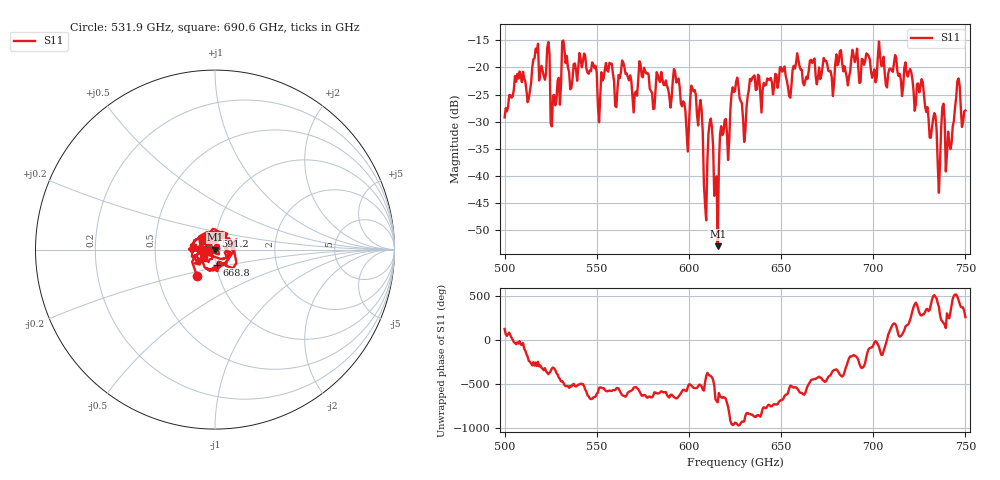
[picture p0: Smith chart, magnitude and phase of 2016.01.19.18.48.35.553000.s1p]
!Created with skrf (http://scikit-rf.org).
# GHz S RI R 50.0
!freq ReS11 ImS11
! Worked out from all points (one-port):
!   401 points, 500 GHz to 750 GHz, reference 50 ohm
!   lowest |S11| = -53.0 dB at 615.6 GHz (marker M1), VSWR 1.00, Z = 50.2 + j0.0527 ohm
!   |S11| at or under -10 dB: start of sweep to end of sweep
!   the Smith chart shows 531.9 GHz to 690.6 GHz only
!   S11 on the Smith chart (normalised r, x): 531.9 GHz: 0.79, -0.24; 591.2 GHz: 1.00, +0.15; 668.8 GHz: 1.01, -0.17; 690.6 GHz: 0.78, +0.03
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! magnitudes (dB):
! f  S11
! 500 GHz  -29.2
! 516.9 GHz  -16.5
! 523.1 GHz  -16.4
! 526.2 GHz  -25.2
! 531.2 GHz  -15.2
! 531.9 GHz  -15.0
! 551.9 GHz  -25.5
! 562.5 GHz  -22.0
! 591.2 GHz  -22.4
! 593.8 GHz  -22.6
! 598.8 GHz  -31.9
! 602.5 GHz  -24.4
! 606.2 GHz  -26.0
! 608.8 GHz  -45.3
! 611.9 GHz  -29.4
! 615.6 GHz  -53.0
! 625 GHz  -24.3
! 630 GHz  -33.8
! 634.4 GHz  -21.9
! 656.2 GHz  -20.4
! 668.8 GHz  -21.5
! 687.5 GHz  -20.7
! 690.6 GHz  -18.2
! 718.8 GHz  -21.7
! 735.6 GHz  -43.1
! 740.6 GHz  -31.8
! 745.6 GHz  -22.6
! 750 GHz  -27.9
